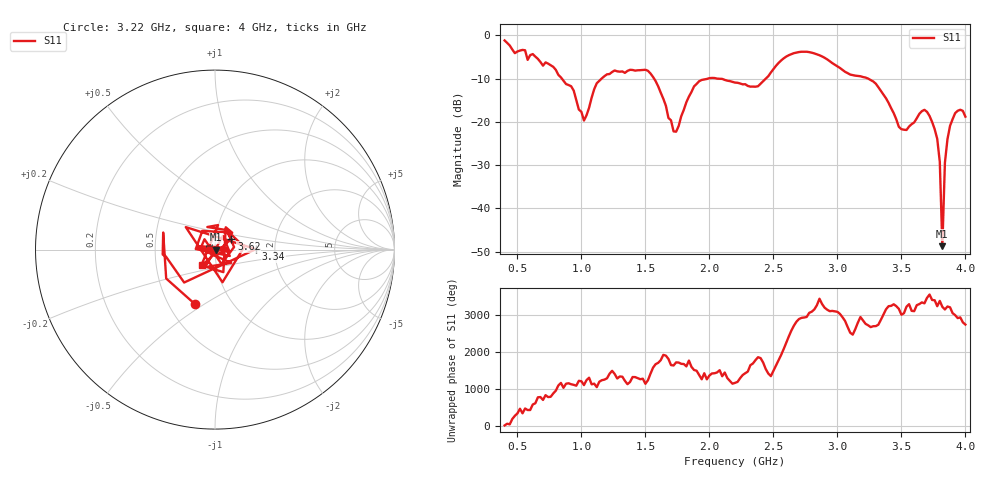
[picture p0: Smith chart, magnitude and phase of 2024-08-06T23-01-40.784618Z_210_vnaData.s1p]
!Created with skrf (http://scikit-rf.org).
# Hz S RI R 50.0
!freq ReS11 ImS11
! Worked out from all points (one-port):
!   181 points, 400 MHz to 4 GHz, reference 50 ohm
!   lowest |S11| = -48.7 dB at 3.82 GHz (marker M1), VSWR 1.01, Z = 50.4 - j0.0706 ohm
!   |S11| at or under -10 dB: 1.568 GHz to 1.99 GHz (422.2 MHz wide, 23.7 % of centre); 2.058 GHz to 2.441 GHz (382.8 MHz wide, 17 % of centre); 3.24 GHz to end of sweep (the widest 3 of 4)
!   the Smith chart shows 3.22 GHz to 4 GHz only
!   S11 on the Smith chart (normalised r, x): 3.22 GHz: 0.68, -0.46; 3.34 GHz: 1.59, +0.01; 3.62 GHz: 1.19, +0.15; 4 GHz: 0.85, -0.15
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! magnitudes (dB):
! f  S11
! 400 MHz  -1.2
! 860 MHz  -10.5
! 940 MHz  -12.8
! 1.02 GHz  -19.7
! 1.12 GHz  -11.1
! 1.3 GHz  -8.4
! 1.52 GHz  -8.2
! 1.6 GHz  -11.8
! 1.72 GHz  -22.2
! 1.76 GHz  -21.0
! 1.92 GHz  -10.6
! 2.2 GHz  -10.9
! 2.38 GHz  -11.8
! 2.66 GHz  -4.1
! 3.1 GHz  -9.1
! 3.22 GHz  -9.8
! 3.34 GHz  -12.9
! 3.48 GHz  -21.1
! 3.56 GHz  -21.1
! 3.62 GHz  -19.2
! 3.7 GHz  -17.7
! 3.78 GHz  -23.9
! 3.8 GHz  -29.2
! 3.82 GHz  -48.7
! 3.84 GHz  -29.4
! 3.86 GHz  -24.0
! 3.92 GHz  -18.0
! 4 GHz  -18.8
